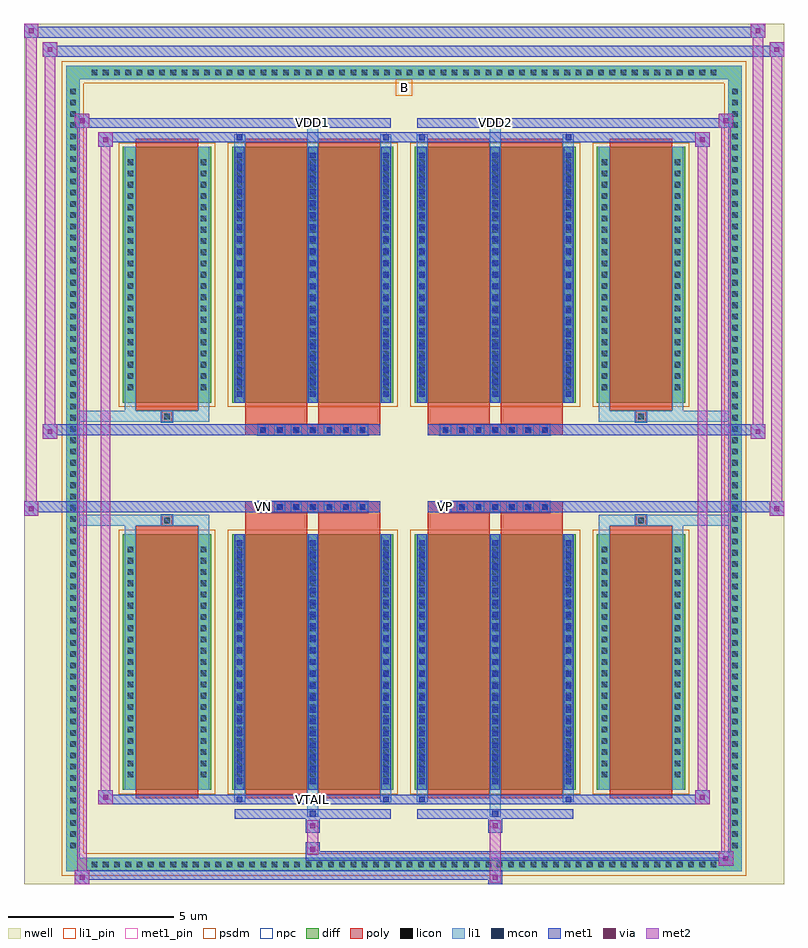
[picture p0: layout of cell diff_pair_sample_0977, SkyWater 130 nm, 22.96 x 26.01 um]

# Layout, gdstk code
import gdstk
lib = gdstk.Library(unit=1e-6, precision=5e-09)
def R(c, l, rs):  # rectangles x0, y0, x1, y1
    for r in rs: c.add(gdstk.rectangle(r[:2], r[2:], *l))
def A(c, l, x, y, w, h, nx, ny, dx, dy):  # array of equal rectangles
    R(c, l, [(x+i*dx, y+j*dy, x+i*dx+w, y+j*dy+h) for i in range(nx) for j in range(ny)])
def P(c, l, *ps):  # polygons
    for p in ps: c.add(gdstk.Polygon(p, *l))
nwell = (64, 20)
diff = (65, 20)
poly = (66, 20)
licon = (66, 44)
li1_pin = (67, 16)
li1 = (67, 20)
mcon = (67, 44)
met1_pin = (68, 16)
met1 = (68, 20)
via = (68, 44)
met2 = (69, 20)
psdm = (94, 20)
npc = (95, 20)

diff_pair_sample_0977 = lib.new_cell('diff_pair_sample_0977')
R(diff_pair_sample_0977, nwell, [(-11.48,-12.57,11.48,13.44), (-8.8,-10.76,-0.01,-0.8), (0.01,-10.76,8.8,-0.8), (-8.8,0.8,-0.01,10.76), (0.01,0.8,8.8,10.76)])
A(diff_pair_sample_0977, diff, -9.555, -12.17, 0.41, 0.41, 56, 2, 0.34, 23.93)
A(diff_pair_sample_0977, diff, -10.21, -11.595, 0.41, 0.41, 1, 68, 0, 0.34)
A(diff_pair_sample_0977, diff, 9.8, -11.595, 0.41, 0.41, 1, 68, 0, 0.34)
R(diff_pair_sample_0977, diff, [(-9.555,-12.17,9.555,-11.76), (-10.21,-11.595,-9.8,11.595), (9.8,-11.595,10.21,11.595), (-8.49,-9.715,-5.83,-1.985), (-5.19,-9.715,-0.32,-1.985), (0.32,-9.715,5.19,-1.985), (5.83,-9.715,8.49,-1.985), (-8.49,1.985,-5.83,9.715), (-5.19,1.985,-0.32,9.715), (0.32,1.985,5.19,9.715), (5.83,1.985,8.49,9.715), (-9.555,11.76,9.555,12.17)])
P(diff_pair_sample_0977, diff, [(10.21,12.17),(-10.21,12.17),(-10.21,-11.76),(-9.8,-11.76),(-9.8,11.76),(9.8,11.76),(9.8,-11.76),(-9.8,-11.76),(-10.21,-11.76),(-10.21,-12.17),(10.21,-12.17)])
A(diff_pair_sample_0977, poly, -4.42, -1.33, 0.33, 0.33, 7, 2, 0.5, 2.33)
A(diff_pair_sample_0977, poly, 1.09, -1.33, 0.33, 0.33, 7, 2, 0.5, 2.33)
R(diff_pair_sample_0977, poly, [(-8.1,-9.965,-6.22,-1.735), (-4.8,-9.965,-2.92,-1.735), (-2.59,-9.965,-0.71,-1.735), (0.71,-9.965,2.59,-1.735), (2.92,-9.965,4.8,-1.735), (6.22,-9.965,8.1,-1.735), (-7.325,-1.735,-6.995,-1.405), (-7.325,-1.735,-6.995,-1.405), (-4.8,-1.735,-2.92,-1.33), (-2.59,-1.735,-0.71,-1.33), (0.71,-1.735,2.59,-1.33), (2.92,-1.735,4.8,-1.33), (6.995,-1.735,7.325,-1.405), (6.995,-1.735,7.325,-1.405), (-4.8,-1.33,-0.71,-1), (0.71,-1.33,4.8,-1), (-4.8,1,-0.71,1.33), (0.71,1,4.8,1.33), (-4.8,1.33,-2.92,1.735), (-2.59,1.33,-0.71,1.735), (0.71,1.33,2.59,1.735), (2.92,1.33,4.8,1.735), (-7.325,1.405,-6.995,1.735), (-7.325,1.405,-6.995,1.735), (6.995,1.405,7.325,1.735), (6.995,1.405,7.325,1.735), (-8.1,1.735,-6.22,9.965), (-4.8,1.735,-2.92,9.965), (-2.59,1.735,-0.71,9.965), (0.71,1.735,2.59,9.965), (2.92,1.735,4.8,9.965), (6.22,1.735,8.1,9.965)])
A(diff_pair_sample_0977, licon, -9.435, -12.05, 0.17, 0.17, 56, 2, 0.34, 23.93)
A(diff_pair_sample_0977, licon, -10.09, -11.475, 0.17, 0.17, 1, 68, 0, 0.34)
A(diff_pair_sample_0977, licon, 9.92, -11.475, 0.17, 0.17, 1, 68, 0, 0.34)
A(diff_pair_sample_0977, licon, -8.35, -9.335, 0.17, 0.17, 1, 21, 0, 0.34)
A(diff_pair_sample_0977, licon, -6.14, -9.335, 0.17, 0.17, 1, 21, 0, 0.34)
A(diff_pair_sample_0977, licon, -5.05, -9.335, 0.17, 0.17, 3, 21, 2.21, 0.34)
A(diff_pair_sample_0977, licon, 0.46, -9.335, 0.17, 0.17, 3, 21, 2.21, 0.34)
A(diff_pair_sample_0977, licon, 5.97, -9.335, 0.17, 0.17, 1, 21, 0, 0.34)
A(diff_pair_sample_0977, licon, 8.18, -9.335, 0.17, 0.17, 1, 21, 0, 0.34)
A(diff_pair_sample_0977, licon, -4.34, -1.25, 0.17, 0.17, 7, 2, 0.5, 2.33)
A(diff_pair_sample_0977, licon, 1.17, -1.25, 0.17, 0.17, 7, 2, 0.5, 2.33)
A(diff_pair_sample_0977, licon, -8.35, 2.365, 0.17, 0.17, 1, 21, 0, 0.34)
A(diff_pair_sample_0977, licon, -6.14, 2.365, 0.17, 0.17, 1, 21, 0, 0.34)
A(diff_pair_sample_0977, licon, -5.05, 2.365, 0.17, 0.17, 3, 21, 2.21, 0.34)
A(diff_pair_sample_0977, licon, 0.46, 2.365, 0.17, 0.17, 3, 21, 2.21, 0.34)
A(diff_pair_sample_0977, licon, 5.97, 2.365, 0.17, 0.17, 1, 21, 0, 0.34)
A(diff_pair_sample_0977, licon, 8.18, 2.365, 0.17, 0.17, 1, 21, 0, 0.34)
R(diff_pair_sample_0977, licon, [(-7.245,-1.655,-7.075,-1.485), (7.075,-1.655,7.245,-1.485), (-7.245,1.485,-7.075,1.655), (7.075,1.485,7.245,1.655)])
R(diff_pair_sample_0977, li1_pin, [(-0.25,11.26,0.25,11.76)])
A(diff_pair_sample_0977, li1, -9.515, -12.13, 0.33, 0.33, 56, 2, 0.34, 23.93)
A(diff_pair_sample_0977, li1, -10.17, -11.555, 0.33, 0.33, 1, 68, 0, 0.34)
A(diff_pair_sample_0977, li1, 9.84, -11.555, 0.33, 0.33, 1, 68, 0, 0.34)
A(diff_pair_sample_0977, li1, -5.13, -9.715, 0.33, 7.73, 3, 2, 2.21, 11.7)
A(diff_pair_sample_0977, li1, 0.38, -9.715, 0.33, 7.73, 3, 2, 2.21, 11.7)
A(diff_pair_sample_0977, li1, -5.05, -9.535, 0.17, 0.17, 3, 21, 2.21, 0.36)
A(diff_pair_sample_0977, li1, -5.05, -9.535, 0.17, 7.37, 3, 2, 2.21, 11.7)
A(diff_pair_sample_0977, li1, 0.46, -9.535, 0.17, 0.17, 3, 21, 2.21, 0.36)
A(diff_pair_sample_0977, li1, 0.46, -9.535, 0.17, 7.37, 3, 2, 2.21, 11.7)
A(diff_pair_sample_0977, li1, -8.43, -9.415, 0.33, 0.33, 1, 21, 0, 0.34)
A(diff_pair_sample_0977, li1, -6.22, -9.415, 0.33, 0.33, 1, 21, 0, 0.34)
A(diff_pair_sample_0977, li1, -5.13, -9.415, 0.33, 0.33, 3, 21, 2.21, 0.34)
A(diff_pair_sample_0977, li1, 0.38, -9.415, 0.33, 0.33, 3, 21, 2.21, 0.34)
A(diff_pair_sample_0977, li1, 5.89, -9.415, 0.33, 0.33, 1, 21, 0, 0.34)
A(diff_pair_sample_0977, li1, 8.1, -9.415, 0.33, 0.33, 1, 21, 0, 0.34)
A(diff_pair_sample_0977, li1, -4.42, -1.33, 0.33, 0.33, 7, 2, 0.5, 2.33)
A(diff_pair_sample_0977, li1, 1.09, -1.33, 0.33, 0.33, 7, 2, 0.5, 2.33)
A(diff_pair_sample_0977, li1, -5.05, 2.165, 0.17, 0.17, 3, 21, 2.21, 0.36)
A(diff_pair_sample_0977, li1, 0.46, 2.165, 0.17, 0.17, 3, 21, 2.21, 0.36)
A(diff_pair_sample_0977, li1, -8.43, 2.285, 0.33, 0.33, 1, 21, 0, 0.34)
A(diff_pair_sample_0977, li1, -6.22, 2.285, 0.33, 0.33, 1, 21, 0, 0.34)
A(diff_pair_sample_0977, li1, -5.13, 2.285, 0.33, 0.33, 3, 21, 2.21, 0.34)
A(diff_pair_sample_0977, li1, 0.38, 2.285, 0.33, 0.33, 3, 21, 2.21, 0.34)
A(diff_pair_sample_0977, li1, 5.89, 2.285, 0.33, 0.33, 1, 21, 0, 0.34)
A(diff_pair_sample_0977, li1, 8.1, 2.285, 0.33, 0.33, 1, 21, 0, 0.34)
R(diff_pair_sample_0977, li1, [(-10.21,-12.17,-9.8,-11.76), (-10.21,-12.17,-9.8,-11.76), (-9.8,-12.17,9.8,-11.76), (9.8,-12.17,10.21,-11.76), (9.8,-12.17,10.21,-11.76), (-10.21,-11.76,-9.8,11.76), (9.8,-11.76,10.21,11.76), (-2.92,-10.52,-2.59,-9.715), (-2.84,-10.52,-2.67,-10.35), (2.59,-10.52,2.92,-9.715), (2.67,-10.52,2.84,-10.35), (-5.13,-10.09,-4.8,-9.715), (-5.05,-10.09,-4.88,-9.92), (-0.71,-10.09,-0.38,-9.715), (-0.63,-10.09,-0.46,-9.92), (0.38,-10.09,0.71,-9.715), (0.46,-10.09,0.63,-9.92), (4.8,-10.09,5.13,-9.715), (4.88,-10.09,5.05,-9.92), (-8.43,-9.715,-8.1,-1.985), (-6.22,-9.715,-5.89,-1.985), (5.89,-9.715,6.22,-1.985), (8.1,-9.715,8.43,-1.985), (-8.43,-1.985,-8.1,-1.405), (-6.22,-1.985,-5.89,-1.405), (5.89,-1.985,6.22,-1.405), (8.1,-1.985,8.43,-1.405), (-10.21,-1.735,-7.325,-1.405), (-8.43,-1.735,-7.325,-1.405), (-7.325,-1.735,-6.995,-1.405), (-6.995,-1.735,-5.89,-1.405), (5.89,-1.735,6.995,-1.405), (6.995,-1.735,7.325,-1.405), (6.995,-1.735,10.21,-1.405), (7.325,-1.735,8.43,-1.405), (-10.21,1.405,-7.325,1.735), (-8.43,1.405,-7.325,1.735), (-8.43,1.405,-8.1,1.985), (-7.325,1.405,-6.995,1.735), (-6.995,1.405,-5.89,1.735), (-6.22,1.405,-5.89,1.985), (5.89,1.405,6.995,1.735), (5.89,1.405,6.22,1.985), (6.995,1.405,7.325,1.735), (6.995,1.405,10.21,1.735), (7.325,1.405,8.43,1.735), (8.1,1.405,8.43,1.985), (-8.43,1.985,-8.1,9.715), (-6.22,1.985,-5.89,9.715), (5.89,1.985,6.22,9.715), (8.1,1.985,8.43,9.715), (-5.13,9.715,-4.8,10.09), (-2.92,9.715,-2.59,10.52), (-0.71,9.715,-0.38,10.09), (0.38,9.715,0.71,10.09), (2.59,9.715,2.92,10.52), (4.8,9.715,5.13,10.09), (-5.05,9.92,-4.88,10.09), (-0.63,9.92,-0.46,10.09), (0.46,9.92,0.63,10.09), (4.88,9.92,5.05,10.09), (-2.84,10.35,-2.67,10.52), (2.67,10.35,2.84,10.52), (-10.21,11.76,-9.8,12.17), (-10.21,11.76,-9.8,12.17), (-9.8,11.76,9.8,12.17), (9.8,11.76,10.21,12.17), (9.8,11.76,10.21,12.17)])
A(diff_pair_sample_0977, mcon, -5.05, -9.535, 0.17, 0.17, 3, 21, 2.21, 0.36)
A(diff_pair_sample_0977, mcon, 0.46, -9.535, 0.17, 0.17, 3, 21, 2.21, 0.36)
A(diff_pair_sample_0977, mcon, -4.34, -1.25, 0.17, 0.17, 7, 2, 0.5, 2.33)
A(diff_pair_sample_0977, mcon, 1.17, -1.25, 0.17, 0.17, 7, 2, 0.5, 2.33)
A(diff_pair_sample_0977, mcon, -5.05, 2.165, 0.17, 0.17, 3, 21, 2.21, 0.36)
A(diff_pair_sample_0977, mcon, 0.46, 2.165, 0.17, 0.17, 3, 21, 2.21, 0.36)
R(diff_pair_sample_0977, mcon, [(-2.84,-10.52,-2.67,-10.35), (2.67,-10.52,2.84,-10.35), (-5.05,-10.09,-4.88,-9.92), (-0.63,-10.09,-0.46,-9.92), (0.46,-10.09,0.63,-9.92), (4.88,-10.09,5.05,-9.92), (-5.05,9.92,-4.88,10.09), (-0.63,9.92,-0.46,10.09), (0.46,9.92,0.63,10.09), (4.88,9.92,5.05,10.09), (-2.84,10.35,-2.67,10.52), (2.67,10.35,2.84,10.52)])
R(diff_pair_sample_0977, met1_pin, [(-2.89,-10.13,-2.62,-9.86), (-4.39,-1.29,-4.12,-1.02), (1.12,-1.29,1.39,-1.02), (-2.89,10.31,-2.62,10.58), (2.62,10.31,2.89,10.58)])
A(diff_pair_sample_0977, met1, -5.11, -9.715, 0.29, 7.73, 3, 2, 2.21, 11.7)
A(diff_pair_sample_0977, met1, 0.4, -9.715, 0.29, 7.73, 3, 2, 2.21, 11.7)
A(diff_pair_sample_0977, met1, -5.11, -9.595, 0.29, 0.29, 3, 21, 2.21, 0.36)
A(diff_pair_sample_0977, met1, 0.4, -9.595, 0.29, 0.29, 3, 21, 2.21, 0.36)
A(diff_pair_sample_0977, met1, -4.4, -1.31, 0.29, 0.29, 7, 2, 0.5, 2.33)
A(diff_pair_sample_0977, met1, 1.11, -1.31, 0.29, 0.29, 7, 2, 0.5, 2.33)
A(diff_pair_sample_0977, met1, -5.11, 2.105, 0.29, 0.29, 3, 21, 2.21, 0.36)
A(diff_pair_sample_0977, met1, 0.4, 2.105, 0.29, 0.29, 3, 21, 2.21, 0.36)
R(diff_pair_sample_0977, met1, [(-9.94,-12.57,-9.51,-12.14), (2.54,-12.57,2.97,-12.14), (-9.94,-12.43,2.97,-12.14), (9.51,-12,9.94,-11.57), (-2.97,-11.86,9.94,-11.57), (-2.97,-11.72,-2.54,-11.29), (-2.97,-11.01,-2.54,-10.58), (2.54,-11.01,2.97,-10.58), (-5.11,-10.58,-0.4,-10.29), (-2.9,-10.58,-2.61,-10.29), (0.4,-10.58,5.11,-10.29), (2.61,-10.58,2.9,-10.29), (-9.23,-10.15,-8.8,-9.72), (-9.23,-10.15,-5.11,-9.86), (-5.11,-10.15,-4.82,-9.86), (-5.11,-10.15,-0.4,-9.86), (-0.69,-10.15,-0.4,-9.86), (-0.4,-10.15,0.4,-9.86), (0.4,-10.15,0.69,-9.86), (0.4,-10.15,5.11,-9.86), (4.82,-10.15,5.11,-9.86), (5.11,-10.15,9.23,-9.86), (8.8,-10.15,9.23,-9.72), (-11.48,-1.43,-11.05,-1), (11.05,-1.43,11.48,-1), (-11.48,-1.33,-0.71,-1), (-4.8,-1.33,-0.71,-1), (0.71,-1.33,4.8,-1), (0.71,-1.33,11.48,-1), (-10.91,0.9,-10.48,1.33), (10.48,0.9,10.91,1.33), (-10.91,1,-4.8,1.33), (-4.8,1,-0.71,1.33), (0.71,1,4.8,1.33), (4.8,1,10.91,1.33), (-9.23,9.72,-8.8,10.15), (8.8,9.72,9.23,10.15), (-9.23,9.86,-5.11,10.15), (-5.11,9.86,-4.82,10.15), (-5.11,9.86,-0.4,10.15), (-0.69,9.86,-0.4,10.15), (-0.4,9.86,0.4,10.15), (0.4,9.86,0.69,10.15), (0.4,9.86,5.11,10.15), (4.82,9.86,5.11,10.15), (5.11,9.86,9.23,10.15), (-9.94,10.29,-9.51,10.72), (-9.94,10.29,-5.11,10.58), (-5.11,10.29,-0.4,10.58), (-2.9,10.29,-2.61,10.58), (0.4,10.29,5.11,10.58), (2.61,10.29,2.9,10.58), (5.11,10.29,9.94,10.58), (9.51,10.29,9.94,10.72), (-10.91,12.44,-10.48,12.87), (-10.91,12.44,-8.8,12.77), (-8.8,12.44,8.8,12.77), (8.8,12.44,11.48,12.77), (11.05,12.44,11.48,12.87), (-11.48,13.01,-11.05,13.44), (-11.48,13.01,-8.8,13.34), (-8.8,13.01,8.8,13.34), (8.8,13.01,10.91,13.34), (10.48,13.01,10.91,13.44)])
R(diff_pair_sample_0977, via, [(-9.8,-12.43,-9.65,-12.28), (2.68,-12.43,2.83,-12.28), (9.65,-11.86,9.8,-11.71), (-2.83,-11.58,-2.68,-11.43), (-2.83,-10.87,-2.68,-10.72), (2.68,-10.87,2.83,-10.72), (-9.09,-10.01,-8.94,-9.86), (8.94,-10.01,9.09,-9.86), (-11.34,-1.29,-11.19,-1.14), (11.19,-1.29,11.34,-1.14), (-10.77,1.04,-10.62,1.19), (10.62,1.04,10.77,1.19), (-9.09,9.86,-8.94,10.01), (8.94,9.86,9.09,10.01), (-9.8,10.43,-9.65,10.58), (9.65,10.43,9.8,10.58), (-10.77,12.58,-10.62,12.73), (11.19,12.58,11.34,12.73), (-11.34,13.15,-11.19,13.3), (10.62,13.15,10.77,13.3)])
R(diff_pair_sample_0977, met2, [(-9.94,-12.57,-9.51,-12.14), (-9.87,-12.57,-9.58,10.72), (-9.58,-12.57,-9.51,-12.14), (-9.89,-12.52,-9.56,-12.19), (2.59,-12.52,2.92,-12.19), (2.59,-12.19,2.92,-10.96), (9.51,-12,9.94,-11.57), (9.58,-12,9.87,10.72), (9.87,-12,9.94,-11.57), (9.56,-11.95,9.89,-11.62), (-2.92,-11.67,-2.59,-11.34), (-2.92,-11.34,-2.59,-10.96), (-2.92,-10.96,-2.59,-10.63), (2.59,-10.96,2.92,-10.63), (-9.23,-10.15,-8.8,-9.72), (-9.16,-10.15,-8.87,10.15), (-8.87,-10.15,-8.8,-9.72), (8.8,-10.15,9.23,-9.72), (8.87,-10.15,9.16,10.15), (9.16,-10.15,9.23,-9.72), (-9.18,-10.1,-8.85,-9.77), (8.85,-10.1,9.18,-9.77), (-11.48,-1.43,-11.05,-1), (-11.43,-1.43,-11.1,13.44), (-11.1,-1.43,-11.05,-1), (11.05,-1.43,11.48,-1), (11.1,-1.43,11.43,12.87), (11.43,-1.43,11.48,-1), (-11.43,-1.38,-11.1,-1.05), (11.1,-1.38,11.43,-1.05), (-10.91,0.9,-10.48,1.33), (-10.86,0.9,-10.53,12.87), (-10.53,0.9,-10.48,1.33), (10.48,0.9,10.91,1.33), (10.53,0.9,10.86,13.44), (10.86,0.9,10.91,1.33), (-10.86,0.95,-10.53,1.28), (10.53,0.95,10.86,1.28), (-9.23,9.72,-8.8,10.15), (-8.87,9.72,-8.8,10.15), (8.8,9.72,9.23,10.15), (9.16,9.72,9.23,10.15), (-9.18,9.77,-8.85,10.1), (8.85,9.77,9.18,10.1), (-9.94,10.29,-9.51,10.72), (-9.58,10.29,-9.51,10.72), (9.51,10.29,9.94,10.72), (9.87,10.29,9.94,10.72), (-9.89,10.34,-9.56,10.67), (9.56,10.34,9.89,10.67), (-10.91,12.44,-10.48,12.87), (-10.53,12.44,-10.48,12.87), (11.05,12.44,11.48,12.87), (11.43,12.44,11.48,12.87), (-10.86,12.49,-10.53,12.82), (11.1,12.49,11.43,12.82), (-11.48,13.01,-11.05,13.44), (-11.1,13.01,-11.05,13.44), (10.48,13.01,10.91,13.44), (10.86,13.01,10.91,13.44), (-11.43,13.06,-11.1,13.39), (10.53,13.06,10.86,13.39)])
R(diff_pair_sample_0977, psdm, [(-8.62,-9.845,-5.7,-1.855), (-5.32,-9.845,-0.19,-1.855), (0.19,-9.845,5.32,-1.855), (5.7,-9.845,8.62,-1.855), (-8.62,1.855,-5.7,9.845), (-5.32,1.855,-0.19,9.845), (0.19,1.855,5.32,9.845), (5.7,1.855,8.62,9.845)])
P(diff_pair_sample_0977, psdm, [(10.34,12.3),(-10.34,12.3),(-10.34,-11.63),(-9.67,-11.63),(-9.67,11.63),(9.67,11.63),(9.67,-11.63),(-9.67,-11.63),(-10.34,-11.63),(-10.34,-12.3),(10.34,-12.3)])
A(diff_pair_sample_0977, npc, -4.44, -1.35, 0.37, 0.37, 7, 2, 0.5, 2.33)
A(diff_pair_sample_0977, npc, 1.07, -1.35, 0.37, 0.37, 7, 2, 0.5, 2.33)
R(diff_pair_sample_0977, npc, [(-7.345,-1.755,-6.975,-1.385), (6.975,-1.755,7.345,-1.385), (-4.44,-1.35,-3.57,-0.98), (-4.44,-1.35,-3.57,-0.98), (-3.94,-1.35,-3.07,-0.98), (-3.94,-1.35,-3.07,-0.98), (-3.44,-1.35,-2.57,-0.98), (-3.44,-1.35,-2.57,-0.98), (-2.94,-1.35,-2.07,-0.98), (-2.94,-1.35,-2.07,-0.98), (-2.44,-1.35,-1.57,-0.98), (-2.44,-1.35,-1.57,-0.98), (-1.94,-1.35,-1.07,-0.98), (-1.94,-1.35,-1.07,-0.98), (1.07,-1.35,1.94,-0.98), (1.07,-1.35,1.94,-0.98), (1.57,-1.35,2.44,-0.98), (1.57,-1.35,2.44,-0.98), (2.07,-1.35,2.94,-0.98), (2.07,-1.35,2.94,-0.98), (2.57,-1.35,3.44,-0.98), (2.57,-1.35,3.44,-0.98), (3.07,-1.35,3.94,-0.98), (3.07,-1.35,3.94,-0.98), (3.57,-1.35,4.44,-0.98), (3.57,-1.35,4.44,-0.98), (-4.44,0.98,-3.57,1.35), (-4.44,0.98,-3.57,1.35), (-3.94,0.98,-3.07,1.35), (-3.94,0.98,-3.07,1.35), (-3.44,0.98,-2.57,1.35), (-3.44,0.98,-2.57,1.35), (-2.94,0.98,-2.07,1.35), (-2.94,0.98,-2.07,1.35), (-2.44,0.98,-1.57,1.35), (-2.44,0.98,-1.57,1.35), (-1.94,0.98,-1.07,1.35), (-1.94,0.98,-1.07,1.35), (1.07,0.98,1.94,1.35), (1.07,0.98,1.94,1.35), (1.57,0.98,2.44,1.35), (1.57,0.98,2.44,1.35), (2.07,0.98,2.94,1.35), (2.07,0.98,2.94,1.35), (2.57,0.98,3.44,1.35), (2.57,0.98,3.44,1.35), (3.07,0.98,3.94,1.35), (3.07,0.98,3.94,1.35), (3.57,0.98,4.44,1.35), (3.57,0.98,4.44,1.35), (-7.345,1.385,-6.975,1.755), (6.975,1.385,7.345,1.755)])
diff_pair_sample_0977.add(gdstk.Label('VTAIL', (-2.755,-9.995), layer=68, texttype=5))
diff_pair_sample_0977.add(gdstk.Label('VN', (-4.255,-1.155), layer=68, texttype=5))
diff_pair_sample_0977.add(gdstk.Label('VP', (1.255,-1.155), layer=68, texttype=5))
diff_pair_sample_0977.add(gdstk.Label('B', (0,11.51), layer=67, texttype=5))
diff_pair_sample_0977.add(gdstk.Label('VDD2', (2.755,10.445), layer=68, texttype=5))
diff_pair_sample_0977.add(gdstk.Label('VDD1', (-2.755,10.445), layer=68, texttype=5))

lib.write_gds('diff_pair_sample_0977.gds')
